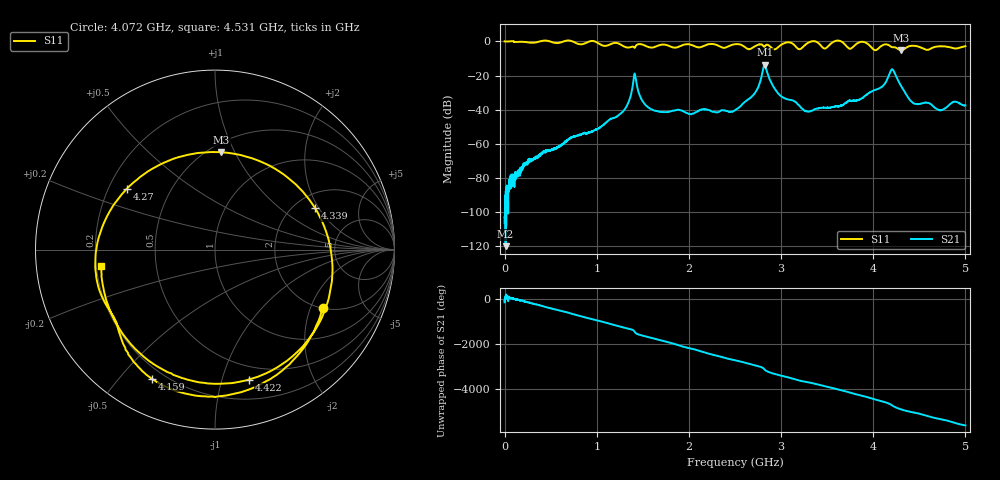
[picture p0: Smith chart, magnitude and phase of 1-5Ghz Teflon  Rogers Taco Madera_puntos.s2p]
! NanoVNA-App
! Date: 2025-10-30 20:58:56
! Start: 10kHz Stop: 5GHz Points: 3201
! S-Parameter data: F S11 S21 S12 S22
# Hz S RI R 50
!  Frequency  S11_Real  S11_Imag  S21_Real  S21_Imag  S12_Real  S12_Imag  S22_Real  S22_Imag
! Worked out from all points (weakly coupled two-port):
!   3201 points, 10 kHz to 5 GHz, reference 50 ohm
!   highest |S21| = -13.56 dB at 2.822 GHz (marker M1); lowest = -119.8 dB at 10.95 MHz (marker M2)
!   lowest |S11| = -5.3 dB at 4.305 GHz (marker M3), VSWR 3.38, Z = 28.7 + j44.2 ohm
!   |S11| at or under -10 dB: nowhere
!   S12 and S22 are empty: the file has one direction only
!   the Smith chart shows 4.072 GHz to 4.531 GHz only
!   S11 on the Smith chart (normalised r, x): 4.072 GHz: 2.01, -2.45; 4.159 GHz: 0.15, -0.61; 4.27 GHz: 0.28, +0.29; 4.339 GHz: 2.56, +1.85; 4.422 GHz: 0.37, -1.22; 4.531 GHz: 0.22, -0.07
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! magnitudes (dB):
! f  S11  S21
! 10 kHz  0.0  -106.2
! 10.95 MHz  -0.1  -119.8
! 834.4 MHz  -1.7  -54.4
! 1.281 GHz  -2.5  -41.2
! 1.413 GHz  -3.7  -18.9
! 1.511 GHz  -2.1  -36.0
! 1.667 GHz  -2.4  -40.9
! 2.5 GHz  -1.6  -40.3
! 2.716 GHz  -2.8  -30.2
! 2.822 GHz  -3.0  -13.6
! 2.989 GHz  -2.4  -31.6
! 3.334 GHz  0.1  -40.5
! 4.072 GHz  -3.3  -27.3
! 4.159 GHz  -1.9  -21.3
! 4.167 GHz  -2.1  -20.3
! 4.211 GHz  -3.4  -16.4
! 4.27 GHz  -4.5  -22.9
! 4.305 GHz  -5.3  -26.3
! 4.339 GHz  -4.4  -29.3
! 4.422 GHz  -2.5  -35.6
! 4.531 GHz  -3.9  -36.3
! 5 GHz  -2.8  -37.5
